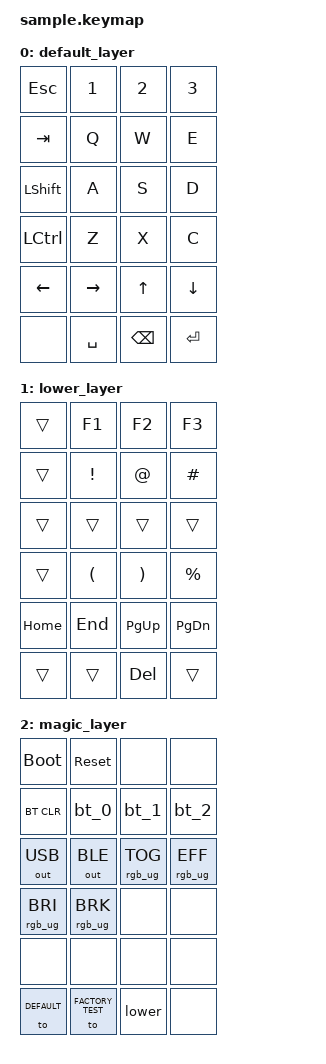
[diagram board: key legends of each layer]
/* Glove80 sample keymap for parser testing. */
#include <behaviors.dtsi>

/ {
    keymap {
        compatible = "zmk,keymap";

        default_layer {
            bindings = <
                &kp ESC   &kp N1    &kp N2    &kp N3
                &kp TAB   &kp Q     &kp W     &kp E
                &kp LSHFT &kp A     &kp S     &kp D
                &kp LCTRL &kp Z     &kp X     &kp C
                &kp LEFT  &kp RIGHT &kp UP    &kp DOWN
                &none     &kp SPACE &kp BSPC  &kp RET
            >;
        };

        lower_layer {
            bindings = <
                &trans    &kp F1    &kp F2    &kp F3
                &trans    &kp EXCL  &kp AT    &kp HASH
                &trans    &trans    &trans    &trans
                &trans    &kp LPAR  &kp RPAR  &kp PRCNT
                &kp HOME  &kp END   &kp PG_UP &kp PG_DN
                &trans    &trans    &kp DEL   &trans
            >;
        };

        magic_layer {
            bindings = <
                &bootloader &sys_reset &none     &none
                &bt BT_CLR  &bt_0      &bt_1     &bt_2
                &out OUT_USB &out OUT_BLE &rgb_ug RGB_TOG &rgb_ug RGB_EFF
                &rgb_ug RGB_BRI &rgb_ug RGB_BRK &none &none
                &none       &none      &none     &none
                &to DEFAULT &to FACTORY_TEST &lower &none
            >;
        };
    };
};
